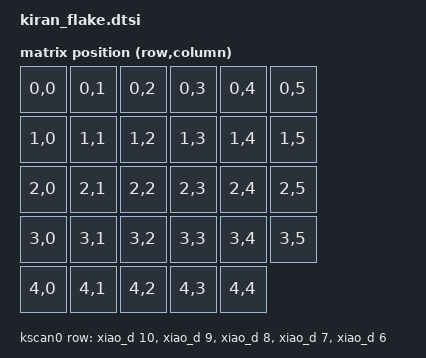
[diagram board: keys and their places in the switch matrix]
#include <dt-bindings/zmk/matrix_transform.h>
#include <physical_layouts.dtsi>

/ {
    kscan0: kscan0 {
        compatible = "zmk,kscan-gpio-matrix";
        diode-direction = "col2row";
        wakeup-source;

        row-gpios
        = <&xiao_d 10 (GPIO_ACTIVE_HIGH | GPIO_PULL_DOWN)>
        , <&xiao_d 9  (GPIO_ACTIVE_HIGH | GPIO_PULL_DOWN)>
        , <&xiao_d 8  (GPIO_ACTIVE_HIGH | GPIO_PULL_DOWN)>
        , <&xiao_d 7  (GPIO_ACTIVE_HIGH | GPIO_PULL_DOWN)>
        , <&xiao_d 6  (GPIO_ACTIVE_HIGH | GPIO_PULL_DOWN)>
        ;
    };

    chosen {
        zmk,kscan = &kscan0;
        zmk,physical-layout = &large_layout;
    };

    large_layout: large_layout {
        compatible = "zmk,physical-layout";
        display-name = "Flake R Layout";
        transform = <&large_transform>;

        keys  //                     w   h    x    y     rot    rx    ry

            , <&key_physical_attrs 100 100 100   25       0     0     0>
            , <&key_physical_attrs 100 100 200   25       0     0     0>
            , <&key_physical_attrs 100 100 300    0       0     0     0>
            , <&key_physical_attrs 100 100 400   25       0     0     0>
            , <&key_physical_attrs 100 100 500   75       0     0     0>
            , <&key_physical_attrs 100 100 600   75       0     0     0>

            , <&key_physical_attrs 100 100 100  125       0     0     0>
            , <&key_physical_attrs 100 100 200  125       0     0     0>
            , <&key_physical_attrs 100 100 300  100       0     0     0>
            , <&key_physical_attrs 100 100 400  125       0     0     0>
            , <&key_physical_attrs 100 100 500  175       0     0     0>
            , <&key_physical_attrs 100 100 600  175       0     0     0>

            , <&key_physical_attrs 100 100 100  225       0     0     0>
            , <&key_physical_attrs 100 100 200  225       0     0     0>
            , <&key_physical_attrs 100 100 300  200       0     0     0>
            , <&key_physical_attrs 100 100 400  225       0     0     0>
            , <&key_physical_attrs 100 100 500  275       0     0     0>
            , <&key_physical_attrs 100 100 600  275       0     0     0>

            , <&key_physical_attrs 100 100 100  325       0     0     0>
            , <&key_physical_attrs 100 100 200  325       0     0     0>
            , <&key_physical_attrs 100 100 300  300       0     0     0>
            , <&key_physical_attrs 100 100 400  325       0     0     0>
            , <&key_physical_attrs 100 100 500  375       0     0     0>
            , <&key_physical_attrs 100 100 600  375       0     0     0>

            , <&key_physical_attrs 100 100  0  470 (-3000)   970   560>
            , <&key_physical_attrs 100 100 100  425 (-1500)  1100   525>
            , <&key_physical_attrs 100 100 200  425       0     0     0>
            , <&key_physical_attrs 100 100 300  400       0     0     0>
            , <&key_physical_attrs 100 100 400  425       0     0     0>
            ;
    };

    large_transform: large_transform {
        compatible = "zmk,matrix-transform";
        columns = <6>;
        rows = <5>;
        map = <
RC(0,0) RC(0,1) RC(0,2) RC(0,3) RC(0,4) RC(0,5)
RC(1,0) RC(1,1) RC(1,2) RC(1,3) RC(1,4) RC(1,5)
RC(2,0) RC(2,1) RC(2,2) RC(2,3) RC(2,4) RC(2,5)
RC(3,0) RC(3,1) RC(3,2) RC(3,3) RC(3,4) RC(3,5)
RC(4,0) RC(4,1) RC(4,2) RC(4,3) RC(4,4)
        >;
    };


    position_map {
        compatible = "zmk,physical-layout-position-map";
        complete;

        large_layout {
            physical-layout = <&large_layout>;
            positions
                = < 0  1  2  3  4  5>
                , < 6  7  8  9 10 11>
                , <12 13 14 15 16 17>
                , <18 19 20 21 22 23>
                , <24 25 26 27 28   >
                ;
        };
    };
};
